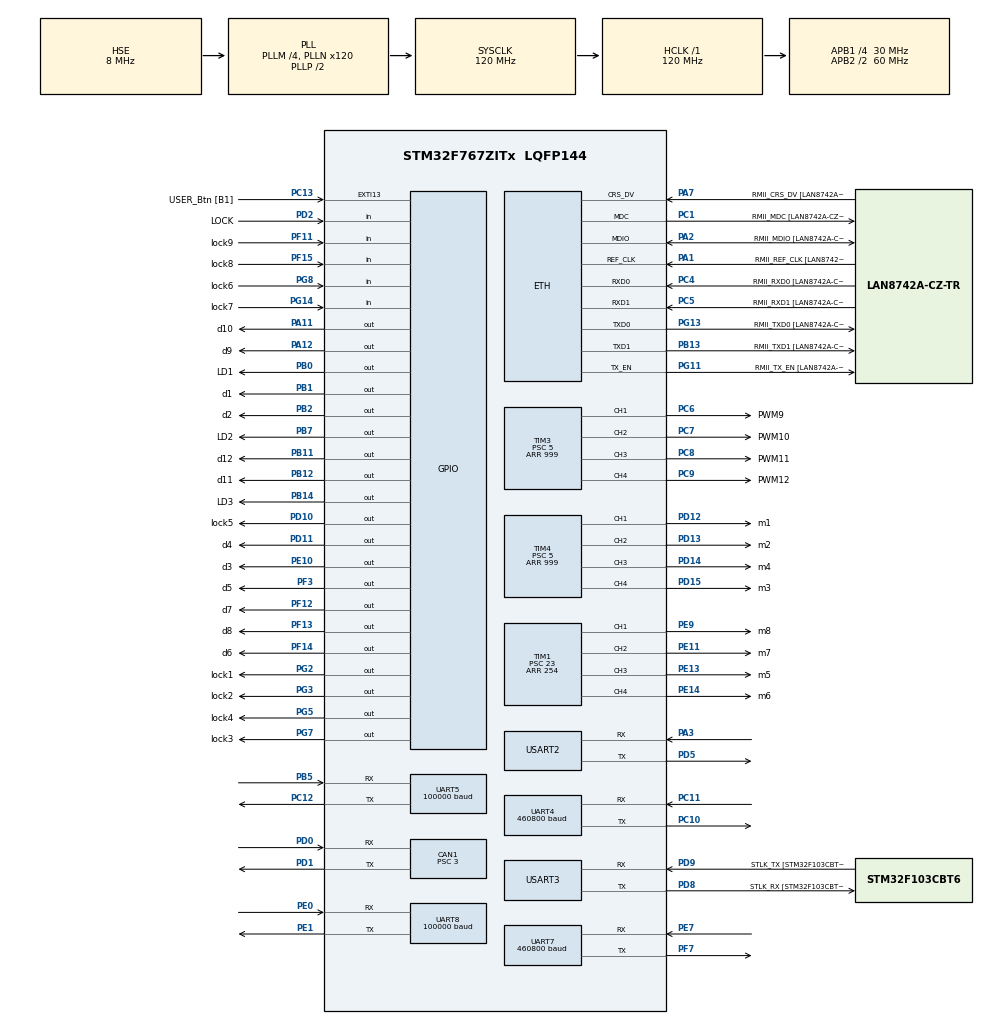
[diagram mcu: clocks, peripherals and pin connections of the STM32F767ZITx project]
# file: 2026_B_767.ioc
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CAN1.BS1=CAN_BS1_7TQ
CAN1.BS2=CAN_BS2_2TQ
CAN1.CalculateBaudRate=1000000
CAN1.CalculateTimeBit=1000
CAN1.CalculateTimeQuantum=100.0
CAN1.NART=ENABLE
CAN1.Prescaler=3
CORTEX_M7.default_mode_Activation=1
Dma.Request0=UART5_RX
Dma.Request1=UART4_RX
Dma.Request2=UART7_RX
Dma.Request3=UART8_RX
Dma.UART4_RX.1.Direction=DMA_PERIPH_TO_MEMORY
Dma.UART4_RX.1.FIFOMode=DMA_FIFOMODE_DISABLE
Dma.UART4_RX.1.Instance=DMA1_Stream2
Dma.UART4_RX.1.MemDataAlignment=DMA_MDATAALIGN_BYTE
Dma.UART4_RX.1.MemInc=DMA_MINC_ENABLE
Dma.UART4_RX.1.Mode=DMA_CIRCULAR
Dma.UART4_RX.1.PeriphDataAlignment=DMA_PDATAALIGN_BYTE
Dma.UART4_RX.1.PeriphInc=DMA_PINC_DISABLE
Dma.UART4_RX.1.Priority=DMA_PRIORITY_LOW
Dma.UART5_RX.0.Direction=DMA_PERIPH_TO_MEMORY
Dma.UART5_RX.0.FIFOMode=DMA_FIFOMODE_DISABLE
Dma.UART5_RX.0.Instance=DMA1_Stream0
Dma.UART5_RX.0.MemDataAlignment=DMA_MDATAALIGN_BYTE
Dma.UART5_RX.0.MemInc=DMA_MINC_ENABLE
Dma.UART5_RX.0.Mode=DMA_NORMAL
Dma.UART5_RX.0.PeriphDataAlignment=DMA_PDATAALIGN_BYTE
Dma.UART5_RX.0.PeriphInc=DMA_PINC_DISABLE
Dma.UART5_RX.0.Priority=DMA_PRIORITY_LOW
Dma.UART7_RX.2.Direction=DMA_PERIPH_TO_MEMORY
Dma.UART7_RX.2.FIFOMode=DMA_FIFOMODE_DISABLE
Dma.UART7_RX.2.Instance=DMA1_Stream3
Dma.UART7_RX.2.MemDataAlignment=DMA_MDATAALIGN_BYTE
Dma.UART7_RX.2.MemInc=DMA_MINC_ENABLE
Dma.UART7_RX.2.Mode=DMA_CIRCULAR
Dma.UART7_RX.2.PeriphDataAlignment=DMA_PDATAALIGN_BYTE
Dma.UART7_RX.2.PeriphInc=DMA_PINC_DISABLE
Dma.UART7_RX.2.Priority=DMA_PRIORITY_LOW
Dma.UART8_RX.3.Direction=DMA_PERIPH_TO_MEMORY
Dma.UART8_RX.3.FIFOMode=DMA_FIFOMODE_DISABLE
Dma.UART8_RX.3.Instance=DMA1_Stream6
Dma.UART8_RX.3.MemDataAlignment=DMA_MDATAALIGN_BYTE
Dma.UART8_RX.3.MemInc=DMA_MINC_ENABLE
Dma.UART8_RX.3.Mode=DMA_NORMAL
Dma.UART8_RX.3.PeriphDataAlignment=DMA_PDATAALIGN_BYTE
Dma.UART8_RX.3.PeriphInc=DMA_PINC_DISABLE
Dma.UART8_RX.3.Priority=DMA_PRIORITY_LOW
ETH.MediaInterface=HAL_ETH_RMII_MODE
ETH.PHY_Name=LAN8742A_PHY_ADDRESS
ETH.PHY_Value=0
ETH.PhyAddress=0
Mcu.Family=STM32F7
Mcu.Name=STM32F767ZITx
Mcu.Package=LQFP144
NVIC.CAN1_RX0_IRQn=true\:0\:0\:false\:false\:true\:true\:true\:true
NVIC.CAN1_RX1_IRQn=true\:0\:0\:false\:false\:true\:true\:true\:true
NVIC.DMA1_Stream0_IRQn=true\:0\:0\:false\:false\:true\:false\:true\:true
NVIC.DMA1_Stream2_IRQn=true\:0\:0\:false\:false\:true\:false\:true\:true
NVIC.DMA1_Stream3_IRQn=true\:0\:0\:false\:false\:true\:false\:true\:true
NVIC.DMA1_Stream6_IRQn=true\:0\:0\:false\:false\:true\:false\:true\:true
NVIC.PriorityGroup=NVIC_PRIORITYGROUP_4
NVIC.TIM4_IRQn=true\:0\:0\:false\:false\:true\:true\:true\:true
NVIC.UART4_IRQn=true\:0\:0\:false\:false\:true\:true\:true\:true
NVIC.UART5_IRQn=true\:0\:0\:false\:false\:true\:true\:true\:true
NVIC.UART7_IRQn=true\:0\:0\:false\:false\:true\:true\:true\:true
PA1.GPIO_Label=RMII_REF_CLK [LAN8742A-CZ-TR_REFCLK0]
PA1.Mode=RMII
PA1.Signal=ETH_REF_CLK
PA10.GPIO_Label=USB_ID
PA10.Signal=USB_OTG_FS_ID
PA11.GPIO_Label=d10
PA11.Signal=GPIO_Output
PA12.GPIO_Label=d9
PA12.Signal=GPIO_Output
PA13.GPIO_Label=TMS
PA13.Mode=Serial_Wire
PA13.Signal=SYS_JTMS-SWDIO
PA14.GPIO_Label=TCK
PA14.Mode=Serial_Wire
PA14.Signal=SYS_JTCK-SWCLK
PA2.GPIO_Label=RMII_MDIO [LAN8742A-CZ-TR_MDIO]
PA2.Mode=RMII
PA2.Signal=ETH_MDIO
PA3.Mode=Asynchronous
PA3.Signal=USART2_RX
PA7.GPIO_Label=RMII_CRS_DV [LAN8742A-CZ-TR_CRS_DV]
PA7.Mode=RMII
PA7.Signal=ETH_CRS_DV
PA8.GPIO_Label=USB_SOF [TP1]
PA8.Signal=USB_OTG_FS_SOF
PA9.GPIO_Label=USB_VBUS
PA9.Signal=USB_OTG_FS_VBUS
PB0.GPIO_Label=LD1
PB0.Signal=GPIO_Output
PB1.GPIO_Label=d1
PB1.Signal=GPIO_Output
PB11.GPIO_Label=d12
PB11.Signal=GPIO_Output
PB12.GPIO_Label=d11
PB12.Signal=GPIO_Output
PB13.GPIO_Label=RMII_TXD1 [LAN8742A-CZ-TR_TXD1]
PB13.Mode=RMII
PB13.Signal=ETH_TXD1
PB14.GPIO_Label=LD3
PB14.Signal=GPIO_Output
PB2.GPIO_Label=d2
PB2.Signal=GPIO_Output
PB3.GPIO_Label=SWO
PB3.Signal=SYS_JTDO-SWO
PB5.Mode=Asynchronous
PB5.Signal=UART5_RX
PB7.GPIO_Label=LD2
PB7.Signal=GPIO_Output
PC1.GPIO_Label=RMII_MDC [LAN8742A-CZ-TR_MDC]
PC1.Mode=RMII
PC1.Signal=ETH_MDC
PC10.Mode=Asynchronous
PC10.Signal=UART4_TX
PC11.Mode=Asynchronous
PC11.Signal=UART4_RX
PC12.Mode=Asynchronous
PC12.Signal=UART5_TX
PC13.GPIO_Label=USER_Btn [B1]
PC13.Signal=GPXTI13
PC14/OSC32_IN.Mode=LSE-External-Oscillator
PC14/OSC32_IN.Signal=RCC_OSC32_IN
PC15/OSC32_OUT.Mode=LSE-External-Oscillator
PC15/OSC32_OUT.Signal=RCC_OSC32_OUT
PC4.GPIO_Label=RMII_RXD0 [LAN8742A-CZ-TR_RXD0]
PC4.Mode=RMII
PC4.Signal=ETH_RXD0
PC5.GPIO_Label=RMII_RXD1 [LAN8742A-CZ-TR_RXD1]
PC5.Mode=RMII
PC5.Signal=ETH_RXD1
PC6.GPIO_Label=PWM9
PC6.Signal=S_TIM3_CH1
PC7.GPIO_Label=PWM10
PC7.Signal=S_TIM3_CH2
PC8.GPIO_Label=PWM11
PC8.Signal=S_TIM3_CH3
PC9.GPIO_Label=PWM12
PC9.Signal=S_TIM3_CH4
PD0.Mode=CAN_Activate
PD0.Signal=CAN1_RX
PD1.Mode=CAN_Activate
PD1.Signal=CAN1_TX
PD10.GPIO_Label=lock5
PD10.Signal=GPIO_Output
PD11.GPIO_Label=d4
PD11.Signal=GPIO_Output
PD12.GPIO_Label=m1
PD12.Signal=S_TIM4_CH1
PD13.GPIO_Label=m2
PD13.Signal=S_TIM4_CH2
PD14.GPIO_Label=m4
PD14.Signal=S_TIM4_CH3
PD15.GPIO_Label=m3
PD15.Signal=S_TIM4_CH4
PD2.GPIO_Label=LOCK
PD2.GPIO_PuPd=GPIO_PULLUP
PD2.Signal=GPIO_Input
PD5.Mode=Asynchronous
PD5.Signal=USART2_TX
PD8.GPIO_Label=STLK_RX [STM32F103CBT6_PA3]
PD8.Mode=Asynchronous
PD8.Signal=USART3_TX
PD9.GPIO_Label=STLK_TX [STM32F103CBT6_PA2]
PD9.Mode=Asynchronous
PD9.Signal=USART3_RX
PE0.Mode=Asynchronous
PE0.Signal=UART8_RX
PE1.Mode=Asynchronous
PE1.Signal=UART8_TX
PE10.GPIO_Label=d3
PE10.Signal=GPIO_Output
PE11.GPIO_Label=m7
PE11.Signal=S_TIM1_CH2
PE13.GPIO_Label=m5
PE13.Signal=S_TIM1_CH3
PE14.GPIO_Label=m6
PE14.Signal=S_TIM1_CH4
PE7.Mode=Asynchronous
PE7.Signal=UART7_RX
PE9.GPIO_Label=m8
PE9.Signal=S_TIM1_CH1
PF11.GPIO_Label=lock9
PF11.GPIO_PuPd=GPIO_PULLUP
PF11.Signal=GPIO_Input
PF12.GPIO_Label=d7
PF12.Signal=GPIO_Output
PF13.GPIO_Label=d8
PF13.Signal=GPIO_Output
PF14.GPIO_Label=d6
PF14.Signal=GPIO_Output
PF15.GPIO_Label=lock8
PF15.GPIO_PuPd=GPIO_PULLUP
PF15.Signal=GPIO_Input
PF3.GPIO_Label=d5
PF3.Signal=GPIO_Output
PF7.Mode=Asynchronous
PF7.Signal=UART7_TX
PG11.GPIO_Label=RMII_TX_EN [LAN8742A-CZ-TR_TXEN]
PG11.Mode=RMII
PG11.Signal=ETH_TX_EN
PG13.GPIO_Label=RMII_TXD0 [LAN8742A-CZ-TR_TXD0]
PG13.Mode=RMII
PG13.Signal=ETH_TXD0
PG14.GPIO_Label=lock7
PG14.GPIO_PuPd=GPIO_PULLUP
PG14.Signal=GPIO_Input
PG2.GPIO_Label=lock1
PG2.Signal=GPIO_Output
PG3.GPIO_Label=lock2
PG3.Signal=GPIO_Output
PG5.GPIO_Label=lock4
PG5.Signal=GPIO_Output
PG7.GPIO_Label=lock3
PG7.Signal=GPIO_Output
PG8.GPIO_Label=lock6
PG8.GPIO_PuPd=GPIO_PULLUP
PG8.Signal=GPIO_Input
PH0/OSC_IN.GPIO_Label=MCO [STM32F103CBT6_PA8]
PH0/OSC_IN.Mode=HSE-External-Clock-Source
PH0/OSC_IN.Signal=RCC_OSC_IN
PH1/OSC_OUT.Mode=HSE-External-Clock-Source
PH1/OSC_OUT.Signal=RCC_OSC_OUT
ProjectManager.HeapSize=0x200
ProjectManager.StackSize=0x400
ProjectManager.TargetToolchain=CMake
RCC.48MHZClocksFreq_Value=24000000
RCC.AHBFreq_Value=120000000
RCC.APB1CLKDivider=RCC_HCLK_DIV4
RCC.APB1Freq_Value=30000000
RCC.APB1TimFreq_Value=60000000
RCC.APB2CLKDivider=RCC_HCLK_DIV2
RCC.APB2Freq_Value=60000000
RCC.APB2TimFreq_Value=120000000
RCC.CortexFreq_Value=120000000
RCC.HCLKFreq_Value=120000000
RCC.HSE_VALUE=8000000
RCC.HSI_VALUE=16000000
RCC.PLLM=4
RCC.PLLMUL=RCC_PLL_MUL9
RCC.PLLN=120
RCC.PLLQ=5
RCC.PLLSourceVirtual=RCC_PLLSOURCE_HSE
RCC.PRESCALERUSB=RCC_USBCLKSOURCE_PLL_DIV1_5
RCC.SYSCLKFreq_VALUE=120000000
RCC.SYSCLKSource=RCC_SYSCLKSOURCE_PLLCLK
RCC.SYSCLKSourceVirtual=RCC_SYSCLKSOURCE_PLLCLK
RCC.USBFreq_Value=48000000
RCC.VCOOutputFreq_Value=240000000
SH.S_TIM1_CH1.0=TIM1_CH1,PWM Generation1 CH1
SH.S_TIM1_CH2.0=TIM1_CH2,PWM Generation2 CH2
SH.S_TIM1_CH3.0=TIM1_CH3,PWM Generation3 CH3
SH.S_TIM1_CH4.0=TIM1_CH4,PWM Generation4 CH4
SH.S_TIM3_CH1.0=TIM3_CH1,PWM Generation1 CH1
SH.S_TIM3_CH2.0=TIM3_CH2,PWM Generation2 CH2
SH.S_TIM3_CH3.0=TIM3_CH3,PWM Generation3 CH3
SH.S_TIM3_CH4.0=TIM3_CH4,PWM Generation4 CH4
SH.S_TIM4_CH1.0=TIM4_CH1,PWM Generation1 CH1
SH.S_TIM4_CH2.0=TIM4_CH2,PWM Generation2 CH2
SH.S_TIM4_CH3.0=TIM4_CH3,PWM Generation3 CH3
SH.S_TIM4_CH4.0=TIM4_CH4,PWM Generation4 CH4
TIM1.Channel-PWM\ Generation1\ CH1=TIM_CHANNEL_1
TIM1.Channel-PWM\ Generation2\ CH2=TIM_CHANNEL_2
TIM1.Channel-PWM\ Generation3\ CH3=TIM_CHANNEL_3
TIM1.Channel-PWM\ Generation4\ CH4=TIM_CHANNEL_4
TIM1.Period=254
TIM1.Prescaler=23
TIM3.Channel-PWM\ Generation1\ CH1=TIM_CHANNEL_1
TIM3.Channel-PWM\ Generation2\ CH2=TIM_CHANNEL_2
TIM3.Channel-PWM\ Generation3\ CH3=TIM_CHANNEL_3
TIM3.Channel-PWM\ Generation4\ CH4=TIM_CHANNEL_4
TIM3.Period=999
TIM3.Prescaler=5
TIM4.Channel-PWM\ Generation1\ CH1=TIM_CHANNEL_1
TIM4.Channel-PWM\ Generation2\ CH2=TIM_CHANNEL_2
TIM4.Channel-PWM\ Generation3\ CH3=TIM_CHANNEL_3
TIM4.Channel-PWM\ Generation4\ CH4=TIM_CHANNEL_4
TIM4.Period=999
TIM4.Prescaler=5
UART4.BaudRate=460800
UART4.WordLength=WORDLENGTH_8B
UART5.BaudRate=100000
UART5.Parity=PARITY_EVEN
UART5.RxPinLevelInvertParam=UART_ADVFEATURE_RXINV_ENABLE
UART5.StopBits=UART_STOPBITS_2
UART5.WordLength=WORDLENGTH_9B
UART7.BaudRate=460800
UART8.BaudRate=100000
UART8.Parity=PARITY_EVEN
UART8.RxPinLevelInvertParam=UART_ADVFEATURE_RXINV_ENABLE
UART8.StopBits=UART_STOPBITS_2
UART8.WordLength=WORDLENGTH_9B
USART2.VirtualMode-Asynchronous=VM_ASYNC
USART3.VirtualMode-Asynchronous=VM_ASYNC
VP_TIM1_VS_ClockSourceINT.Mode=Internal
VP_TIM4_VS_ClockSourceINT.Mode=Internal
board=NUCLEO-F767ZI

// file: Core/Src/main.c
/* USER CODE BEGIN Header */
/**
 ******************************************************************************
 * @file           : main.c
 * @brief          : Main program body
 ******************************************************************************
 * @attention
 *
 * Copyright (c) 2026 STMicroelectronics.
 * All rights reserved.
 *
 * This software is licensed under terms that can be found in the LICENSE file
 * in the root directory of this software component.
 * If no LICENSE file comes with this software, it is provided AS-IS.
 *
 ******************************************************************************
 */
/* USER CODE END Header */
#include "main.h"
#include "string.h"

/* USER CODE BEGIN Includes */
#include "sbus.h"
#include "function.h"
#include "can_handler.h"
#include "safety.h"
#include "sbus_handler.h"
#include "lidar_sensor.h"
#include "robot_limits.h"
#include "led.h"
#include <math.h>
#include <stdint.h>
#include <stdio.h>
#include <stdlib.h>

/* USER CODE END Includes */

#if defined ( __ICCARM__ ) /*!< IAR Compiler */
#pragma location=0x2007c000
ETH_DMADescTypeDef  DMARxDscrTab[ETH_RX_DESC_CNT]; /* Ethernet Rx DMA Descriptors */
#pragma location=0x2007c0a0
ETH_DMADescTypeDef  DMATxDscrTab[ETH_TX_DESC_CNT]; /* Ethernet Tx DMA Descriptors */

#elif defined ( __CC_ARM )  /* MDK ARM Compiler */

__attribute__((at(0x2007c000))) ETH_DMADescTypeDef  DMARxDscrTab[ETH_RX_DESC_CNT]; /* Ethernet Rx DMA Descriptors */
__attribute__((at(0x2007c0a0))) ETH_DMADescTypeDef  DMATxDscrTab[ETH_TX_DESC_CNT]; /* Ethernet Tx DMA Descriptors */

#elif defined ( __GNUC__ ) /* GNU Compiler */

ETH_DMADescTypeDef DMARxDscrTab[ETH_RX_DESC_CNT] __attribute__((section(".RxDecripSection"))); /* Ethernet Rx DMA Descriptors */
ETH_DMADescTypeDef DMATxDscrTab[ETH_TX_DESC_CNT] __attribute__((section(".TxDecripSection")));   /* Ethernet Tx DMA Descriptors */
#endif

ETH_TxPacketConfig TxConfig;

CAN_HandleTypeDef hcan1;

ETH_HandleTypeDef heth;

TIM_HandleTypeDef htim1;
TIM_HandleTypeDef htim3;
TIM_HandleTypeDef htim4;

UART_HandleTypeDef huart4;
UART_HandleTypeDef huart5;
UART_HandleTypeDef huart7;
UART_HandleTypeDef huart8;
UART_HandleTypeDef huart2;
UART_HandleTypeDef huart3;
DMA_HandleTypeDef hdma_uart4_rx;
DMA_HandleTypeDef hdma_uart5_rx;
DMA_HandleTypeDef hdma_uart7_rx;
DMA_HandleTypeDef hdma_uart8_rx;

/* USER CODE BEGIN PV */

// スティック (sbus() で ±1000 に変換済み)
int rx; // 旋回 (CH0)
int ly; // 前後 (CH1)
int ry; // BAKETU1 の速度調整 (CH2)。Ltuno1 == -1 のとき上ローラーの目標速度を ±BAKETU1_RY_RANGE 変える
int lx; // 左右 (CH3)

// スイッチ (sbus() で変換済み)
int Lmayu1; // CH4 ローラー選択    1=上ローラー / 0=下ローラー
int Lmayu2; // CH5 ローラー回転    1=回す / 0=止める
int Rmayu1; // CH6 未使用
int Rmayu2; // CH7 電磁弁の選択    0=lock1 / 1=lock2
int Ltuno1; // CH8 上ローラー速度  1=BAKETU3 / 0=BAKETU2 / -1=BAKETU1 (RY で調整)
int Rtuno2; // CH9 発射            1=打つ / 0=打たない

// CAN (ID 0x001) で受け取るローラーのエンコーダ値。0〜255
volatile int16_t PV1 = 0; // 上ローラー pwm5 (use_data[0])
volatile int16_t PV2 = 0; // 上ローラー pwm7 (use_data[1])
volatile int16_t PV3 = 0; // 下ローラー pwm6 (use_data[2])
volatile int16_t PV4 = 0; // 下ローラー pwm8 (use_data[3])
volatile int16_t PV5 = 0; // 未使用 (use_data[4])
volatile int16_t PV6 = 0; // 未使用 (use_data[5])

// 足回りの回転方向 (motor_simple_control が更新)
int dir1 = 0;
int dir2 = 0;
int dir3 = 0;
int dir4 = 0;

/*
 * 各モーターの PWM 値。タイマーごとに Period が違うので値の範囲も違う。
 *   pwm1〜pwm4  足回り   TIM4 (Period 999) … 上限 DRIVE_PWM_MAX (robot_limits.h)
 *   pwm5〜pwm8  ローラー TIM1 (Period 254) … 上限 ROLLER_PWM_MAX (robot_limits.h)
 *   pwm9, pwm10 装填     TIM3 (Period 999) … 上限 SOUTEN_PWM_MAX (12V/21V ≒ 57% → 571)
 *   pwm11, pwm12 予備    TIM3 (未使用)
 * Period を超える値を入れると常に 100% デューティになるので注意。
 */
int pwm1 = 0;
int pwm2 = 0;
int pwm3 = 0;
int pwm4 = 0;
int pwm5 = 0;
int pwm6 = 0;
int pwm7 = 0;
int pwm8 = 0;
int pwm9 = 0;
int pwm10 = 0;
int pwm11 = 0;
int pwm12 = 0;

// ローラーの motor_control 用。誤差を 1/10 するときの端数の繰り越し
int rem5 = 0;
int rem6 = 0;
int rem7 = 0;
int rem8 = 0;

// 装填の原点復帰中フラグ。lock6/lock8 で立ち、原点の lock7/lock9 で下りる
int reset_flag1 = 0; // 装填1
int reset_flag2 = 0; // 装填2

int souten_dir1 = 0; // 装填1(pwm9)の回転方向 (souten_ramp が更新)
int souten_dir2 = 0; // 装填2(pwm10)の回転方向 (souten_ramp が更新)

// ローラーは常に正転で方向転換しない (DIR は出力時に固定値を書く) ため、
// motor_control の dir の受け皿は共用の捨て変数でよい
int dummy = 0;

// lidar
//  UART4 用（センサー1）
uint8_t rx_dma_buf4[DMA_BUF_SIZE];
uint16_t distance4 = 0;

// UART7 用（センサー2）
uint8_t rx_dma_buf7[DMA_BUF_SIZE];
uint16_t distance7 = 0;

uint32_t time1 = 0; // 足回りとローラーの 20ms 周期の基準時刻
uint32_t now = 0;   // ループ先頭の HAL_GetTick()

uint32_t last_can_rx = 0; // 最後に CAN を受信した時刻 (safety() の CAN 断判定)

// SBUS

uint8_t sbus_rxbuf[SBUS_FRAME_LEN];
uint8_t sbus_frame[SBUS_FRAME_LEN];
volatile uint16_t SBUS_CH[16];
uint8_t SBUS_Failsafe = 0;
uint8_t SBUS_LostFrame = 0;
uint32_t last_sbus_rx = 0; // 最後にSBUSフレームをデコードできた時刻

// CAN 受信割り込みで書き込まれる最新の 8 バイト (ID 0x001)
volatile uint8_t use_data[8];

/* USER CODE END PV */

void SystemClock_Config(void);
static void MPU_Config(void);
static void MX_GPIO_Init(void);
static void MX_DMA_Init(void);
static void MX_CAN1_Init(void);
static void MX_ETH_Init(void);
static void MX_UART5_Init(void);
static void MX_USART2_UART_Init(void);
static void MX_USART3_UART_Init(void);
static void MX_TIM4_Init(void);
static void MX_TIM1_Init(void);
static void MX_UART4_Init(void);
static void MX_UART7_Init(void);
static void MX_TIM3_Init(void);
static void MX_UART8_Init(void);

/* USER CODE BEGIN 0 */

// printf の出力先を USART3 にする
int _write(int file, char *ptr, int len) {
    HAL_UART_Transmit(&huart3, (uint8_t *)ptr, len, 10);
    return len;
}

/* USER CODE END 0 */

int main(void)
{

  /* USER CODE BEGIN 1 */

    setbuf(stdout, NULL); // printf をバッファせず、その場で USART3 へ送る
  /* USER CODE END 1 */

  /* MPU Configuration--------------------------------------------------------*/
  MPU_Config();

  /* MCU Configuration--------------------------------------------------------*/

  /* Reset of all peripherals, Initializes the Flash interface and the Systick. */
  HAL_Init();

  /* Configure the system clock */
  SystemClock_Config();

  /* Initialize all configured peripherals */
  MX_GPIO_Init();
  MX_DMA_Init();
  MX_CAN1_Init();
  MX_ETH_Init();
  MX_UART5_Init();
  MX_USART2_UART_Init();
  MX_USART3_UART_Init();
  MX_TIM4_Init();
  MX_TIM1_Init();
  MX_UART4_Init();
  MX_UART7_Init();
  MX_TIM3_Init();
  MX_UART8_Init();
  /* USER CODE BEGIN 2 */
    HAL_CAN_Start(&hcan1);
    HAL_CAN_ActivateNotification(&hcan1,
                                 CAN_IT_RX_FIFO0_MSG_PENDING); // 受信割り込みを有効化

    // 足回り (TIM4)、ローラー (TIM1)、装填 (TIM3) の PWM 出力を開始

    HAL_TIM_PWM_Start(&htim4, TIM_CHANNEL_1);
    HAL_TIM_PWM_Start(&htim4, TIM_CHANNEL_2);
    HAL_TIM_PWM_Start(&htim4, TIM_CHANNEL_3);
    HAL_TIM_PWM_Start(&htim4, TIM_CHANNEL_4);

    HAL_TIM_PWM_Start(&htim1, TIM_CHANNEL_1);
    HAL_TIM_PWM_Start(&htim1, TIM_CHANNEL_2);
    HAL_TIM_PWM_Start(&htim1, TIM_CHANNEL_3);
    HAL_TIM_PWM_Start(&htim1, TIM_CHANNEL_4);

    HAL_TIM_PWM_Start(&htim3, TIM_CHANNEL_1);
    HAL_TIM_PWM_Start(&htim3, TIM_CHANNEL_2);
    HAL_TIM_PWM_Start(&htim3, TIM_CHANNEL_3);
    HAL_TIM_PWM_Start(&htim3, TIM_CHANNEL_4);

    SBUS_Init(); // SBUS の受信を開始

    HAL_Delay(100); // Lidar の起動待ち

    // Lidar 2 台 (UART4, UART7) に測定開始コマンドを送り、循環 DMA で受信を始める
    uint8_t startCmd[] = {0x5A, 0x0A, 0x02, 0x02, 0x00, 0xF1};
    HAL_UART_Transmit(&huart4, startCmd, sizeof(startCmd), HAL_MAX_DELAY);
    HAL_UART_Transmit(&huart7, startCmd, sizeof(startCmd), HAL_MAX_DELAY);
    HAL_Delay(20);
    lidar_start_rx(&huart4);
    lidar_start_rx(&huart7);

  /* USER CODE END 2 */

  /* Infinite loop */
  /* USER CODE BEGIN WHILE */
    while (1) {
        now = HAL_GetTick();

        // CAN で受け取ったローラーのエンコーダ値
        PV1 = use_data[0];
        PV2 = use_data[1];
        PV5 = use_data[2];
        PV4 = use_data[3];
        PV3 = use_data[4];
        PV6 = use_data[5];

        sbus();  // スイッチとスティックを読む
        lidar(); // Lidar の距離を更新

        // 足回り・ローラー・装填のランプは 20ms 周期
        if (now - time1 >= CONTROL_PERIOD_MS) {
            asimawari();
            roller();
            souten_ramp();
          //printf("PV1:%d PV2:%d PV3:%d PV4:%d pwm5:%d pwm7: %d pwm6:%d pwm8:%d\n",PV1,PV2,PV3,PV4,pwm5,pwm7,pwm6,pwm8);
        //printf("distance4 :%d distance7:%d\n",distance4,distance7);
        printf("pwm5%d 6%d7%d8%d\n",pwm5,pwm6,pwm7,pwm8);
            time1 = now;
        }

        hassya();   // 撃ってよいか (撃つスイッチの押し直し) を決める
        souten();   // 装填モーターの指令 (毎周回。リミットスイッチを踏んだときの即停止もここ)
        denziben(); // 電磁弁の指令 (毎周回)

        // 必ず PWM を出力する直前に呼ぶこと。これより後で pwm を書き換えると
        // 異常時の停止やローラーの頭打ちが効かなくなる。
        safety();
        led(); // ステータス LED と LED テープ (safety() の後)

        motor_outputs();

    /* USER CODE END WHILE */

    }
}

void SystemClock_Config(void)
{
  RCC_OscInitTypeDef RCC_OscInitStruct = {0};
  RCC_ClkInitTypeDef RCC_ClkInitStruct = {0};

  /** Configure LSE Drive Capability
  */
  HAL_PWR_EnableBkUpAccess();

  /** Configure the main internal regulator output voltage
  */
  __HAL_RCC_PWR_CLK_ENABLE();
  __HAL_PWR_VOLTAGESCALING_CONFIG(PWR_REGULATOR_VOLTAGE_SCALE3);

  /** Initializes the RCC Oscillators according to the specified parameters
  * in the RCC_OscInitTypeDef structure.
  */
  RCC_OscInitStruct.OscillatorType = RCC_OSCILLATORTYPE_HSE;
  RCC_OscInitStruct.HSEState = RCC_HSE_BYPASS;
  RCC_OscInitStruct.PLL.PLLState = RCC_PLL_ON;
  RCC_OscInitStruct.PLL.PLLSource = RCC_PLLSOURCE_HSE;
  RCC_OscInitStruct.PLL.PLLM = 4;
  RCC_OscInitStruct.PLL.PLLN = 120;
  RCC_OscInitStruct.PLL.PLLP = RCC_PLLP_DIV2;
  RCC_OscInitStruct.PLL.PLLQ = 5;
  RCC_OscInitStruct.PLL.PLLR = 2;
  if (HAL_RCC_OscConfig(&RCC_OscInitStruct) != HAL_OK)
  {
    Error_Handler();
  }

  /** Initializes the CPU, AHB and APB buses clocks
  */
  RCC_ClkInitStruct.ClockType = RCC_CLOCKTYPE_HCLK|RCC_CLOCKTYPE_SYSCLK
                              |RCC_CLOCKTYPE_PCLK1|RCC_CLOCKTYPE_PCLK2;
  RCC_ClkInitStruct.SYSCLKSource = RCC_SYSCLKSOURCE_PLLCLK;
  RCC_ClkInitStruct.AHBCLKDivider = RCC_SYSCLK_DIV1;
  RCC_ClkInitStruct.APB1CLKDivider = RCC_HCLK_DIV4;
  RCC_ClkInitStruct.APB2CLKDivider = RCC_HCLK_DIV2;

  if (HAL_RCC_ClockConfig(&RCC_ClkInitStruct, FLASH_LATENCY_3) != HAL_OK)
  {
    Error_Handler();
  }
}

static void MX_CAN1_Init(void)
{

  hcan1.Instance = CAN1;
  hcan1.Init.Prescaler = 3;
  hcan1.Init.Mode = CAN_MODE_NORMAL;
  hcan1.Init.SyncJumpWidth = CAN_SJW_1TQ;
  hcan1.Init.TimeSeg1 = CAN_BS1_7TQ;
  hcan1.Init.TimeSeg2 = CAN_BS2_2TQ;
  hcan1.Init.TimeTriggeredMode = DISABLE;
  hcan1.Init.AutoBusOff = DISABLE;
  hcan1.Init.AutoWakeUp = DISABLE;
  hcan1.Init.AutoRetransmission = ENABLE;
  hcan1.Init.ReceiveFifoLocked = DISABLE;
  hcan1.Init.TransmitFifoPriority = DISABLE;
  if (HAL_CAN_Init(&hcan1) != HAL_OK)
  {
    Error_Handler();
  }
  /* USER CODE BEGIN CAN1_Init 2 */
    // 16bit の ID リストモードなので、Mask 側も含めた 4 つがそのまま受信する ID になる。
    // 受信するのは 0x001〜0x004 で、実際に使っているのは 0x001 (ローラーのエンコーダ値) だけ。
    CAN_FilterTypeDef filter;
    filter.FilterIdHigh = 0x001 << 5;               // 受信ID 1
    filter.FilterIdLow = 0x002 << 5;                // 受信ID 2
    filter.FilterMaskIdHigh = 0x003 << 5;           // 受信ID 3
    filter.FilterMaskIdLow = 0x004 << 5;            // 受信ID 4
    filter.FilterScale = CAN_FILTERSCALE_16BIT;     // 16モード
    filter.FilterFIFOAssignment = CAN_FILTER_FIFO0; // FIFO0へ格納
    filter.FilterBank = 0;
    filter.FilterMode = CAN_FILTERMODE_IDLIST; // IDリストモード
    filter.SlaveStartFilterBank = 14;
    filter.FilterActivation = ENABLE;

    HAL_CAN_ConfigFilter(&hcan1, &filter);

  /* USER CODE END CAN1_Init 2 */

}

static void MX_ETH_Init(void)
{

   static uint8_t MACAddr[6];

  heth.Instance = ETH;
  MACAddr[0] = 0x00;
  MACAddr[1] = 0x80;
  MACAddr[2] = 0xE1;
  MACAddr[3] = 0x00;
  MACAddr[4] = 0x00;
  MACAddr[5] = 0x00;
  heth.Init.MACAddr = &MACAddr[0];
  heth.Init.MediaInterface = HAL_ETH_RMII_MODE;
  heth.Init.TxDesc = DMATxDscrTab;
  heth.Init.RxDesc = DMARxDscrTab;
  heth.Init.RxBuffLen = 1524;

  if (HAL_ETH_Init(&heth) != HAL_OK)
  {
    Error_Handler();
  }

  memset(&TxConfig, 0 , sizeof(ETH_TxPacketConfig));
  TxConfig.Attributes = ETH_TX_PACKETS_FEATURES_CSUM | ETH_TX_PACKETS_FEATURES_CRCPAD;
  TxConfig.ChecksumCtrl = ETH_CHECKSUM_IPHDR_PAYLOAD_INSERT_PHDR_CALC;
  TxConfig.CRCPadCtrl = ETH_CRC_PAD_INSERT;

}

static void MX_TIM1_Init(void)
{

  TIM_ClockConfigTypeDef sClockSourceConfig = {0};
  TIM_MasterConfigTypeDef sMasterConfig = {0};
  TIM_OC_InitTypeDef sConfigOC = {0};
  TIM_BreakDeadTimeConfigTypeDef sBreakDeadTimeConfig = {0};

  htim1.Instance = TIM1;
  htim1.Init.Prescaler = 23;
  htim1.Init.CounterMode = TIM_COUNTERMODE_UP;
  htim1.Init.Period = 254;
  htim1.Init.ClockDivision = TIM_CLOCKDIVISION_DIV1;
  htim1.Init.RepetitionCounter = 0;
  htim1.Init.AutoReloadPreload = TIM_AUTORELOAD_PRELOAD_DISABLE;
  if (HAL_TIM_Base_Init(&htim1) != HAL_OK)
  {
    Error_Handler();
  }
  sClockSourceConfig.ClockSource = TIM_CLOCKSOURCE_INTERNAL;
  if (HAL_TIM_ConfigClockSource(&htim1, &sClockSourceConfig) != HAL_OK)
  {
    Error_Handler();
  }
  if (HAL_TIM_PWM_Init(&htim1) != HAL_OK)
  {
    Error_Handler();
  }
  sMasterConfig.MasterOutputTrigger = TIM_TRGO_RESET;
  sMasterConfig.MasterOutputTrigger2 = TIM_TRGO2_RESET;
  sMasterConfig.MasterSlaveMode = TIM_MASTERSLAVEMODE_DISABLE;
  if (HAL_TIMEx_MasterConfigSynchronization(&htim1, &sMasterConfig) != HAL_OK)
  {
    Error_Handler();
  }
  sConfigOC.OCMode = TIM_OCMODE_PWM1;
  sConfigOC.Pulse = 0;
  sConfigOC.OCPolarity = TIM_OCPOLARITY_HIGH;
  sConfigOC.OCNPolarity = TIM_OCNPOLARITY_HIGH;
  sConfigOC.OCFastMode = TIM_OCFAST_DISABLE;
  sConfigOC.OCIdleState = TIM_OCIDLESTATE_RESET;
  sConfigOC.OCNIdleState = TIM_OCNIDLESTATE_RESET;
  if (HAL_TIM_PWM_ConfigChannel(&htim1, &sConfigOC, TIM_CHANNEL_1) != HAL_OK)
  {
    Error_Handler();
  }
  if (HAL_TIM_PWM_ConfigChannel(&htim1, &sConfigOC, TIM_CHANNEL_2) != HAL_OK)
  {
    Error_Handler();
  }
  if (HAL_TIM_PWM_ConfigChannel(&htim1, &sConfigOC, TIM_CHANNEL_3) != HAL_OK)
  {
    Error_Handler();
  }
  if (HAL_TIM_PWM_ConfigChannel(&htim1, &sConfigOC, TIM_CHANNEL_4) != HAL_OK)
  {
    Error_Handler();
  }
  sBreakDeadTimeConfig.OffStateRunMode = TIM_OSSR_DISABLE;
  sBreakDeadTimeConfig.OffStateIDLEMode = TIM_OSSI_DISABLE;
  sBreakDeadTimeConfig.LockLevel = TIM_LOCKLEVEL_OFF;
  sBreakDeadTimeConfig.DeadTime = 0;
  sBreakDeadTimeConfig.BreakState = TIM_BREAK_DISABLE;
  sBreakDeadTimeConfig.BreakPolarity = TIM_BREAKPOLARITY_HIGH;
  sBreakDeadTimeConfig.BreakFilter = 0;
  sBreakDeadTimeConfig.Break2State = TIM_BREAK2_DISABLE;
  sBreakDeadTimeConfig.Break2Polarity = TIM_BREAK2POLARITY_HIGH;
  sBreakDeadTimeConfig.Break2Filter = 0;
  sBreakDeadTimeConfig.AutomaticOutput = TIM_AUTOMATICOUTPUT_DISABLE;
  if (HAL_TIMEx_ConfigBreakDeadTime(&htim1, &sBreakDeadTimeConfig) != HAL_OK)
  {
    Error_Handler();
  }
  HAL_TIM_MspPostInit(&htim1);

}

static void MX_TIM3_Init(void)
{

  TIM_MasterConfigTypeDef sMasterConfig = {0};
  TIM_OC_InitTypeDef sConfigOC = {0};

  htim3.Instance = TIM3;
  htim3.Init.Prescaler = 5;
  htim3.Init.CounterMode = TIM_COUNTERMODE_UP;
  htim3.Init.Period = 999;
  htim3.Init.ClockDivision = TIM_CLOCKDIVISION_DIV1;
  htim3.Init.AutoReloadPreload = TIM_AUTORELOAD_PRELOAD_DISABLE;
  if (HAL_TIM_PWM_Init(&htim3) != HAL_OK)
  {
    Error_Handler();
  }
  sMasterConfig.MasterOutputTrigger = TIM_TRGO_RESET;
  sMasterConfig.MasterSlaveMode = TIM_MASTERSLAVEMODE_DISABLE;
  if (HAL_TIMEx_MasterConfigSynchronization(&htim3, &sMasterConfig) != HAL_OK)
  {
    Error_Handler();
  }
  sConfigOC.OCMode = TIM_OCMODE_PWM1;
  sConfigOC.Pulse = 0;
  sConfigOC.OCPolarity = TIM_OCPOLARITY_HIGH;
  sConfigOC.OCFastMode = TIM_OCFAST_DISABLE;
  if (HAL_TIM_PWM_ConfigChannel(&htim3, &sConfigOC, TIM_CHANNEL_1) != HAL_OK)
  {
    Error_Handler();
  }
  if (HAL_TIM_PWM_ConfigChannel(&htim3, &sConfigOC, TIM_CHANNEL_2) != HAL_OK)
  {
    Error_Handler();
  }
  if (HAL_TIM_PWM_ConfigChannel(&htim3, &sConfigOC, TIM_CHANNEL_3) != HAL_OK)
  {
    Error_Handler();
  }
  if (HAL_TIM_PWM_ConfigChannel(&htim3, &sConfigOC, TIM_CHANNEL_4) != HAL_OK)
  {
    Error_Handler();
  }
  HAL_TIM_MspPostInit(&htim3);

}

static void MX_TIM4_Init(void)
{

  TIM_ClockConfigTypeDef sClockSourceConfig = {0};
  TIM_MasterConfigTypeDef sMasterConfig = {0};
  TIM_OC_InitTypeDef sConfigOC = {0};

  htim4.Instance = TIM4;
  htim4.Init.Prescaler = 5;
  htim4.Init.CounterMode = TIM_COUNTERMODE_UP;
  htim4.Init.Period = 999;
  htim4.Init.ClockDivision = TIM_CLOCKDIVISION_DIV1;
  htim4.Init.AutoReloadPreload = TIM_AUTORELOAD_PRELOAD_DISABLE;
  if (HAL_TIM_Base_Init(&htim4) != HAL_OK)
  {
    Error_Handler();
  }
  sClockSourceConfig.ClockSource = TIM_CLOCKSOURCE_INTERNAL;
  if (HAL_TIM_ConfigClockSource(&htim4, &sClockSourceConfig) != HAL_OK)
  {
    Error_Handler();
  }
  if (HAL_TIM_PWM_Init(&htim4) != HAL_OK)
  {
    Error_Handler();
  }
  sMasterConfig.MasterOutputTrigger = TIM_TRGO_RESET;
  sMasterConfig.MasterSlaveMode = TIM_MASTERSLAVEMODE_DISABLE;
  if (HAL_TIMEx_MasterConfigSynchronization(&htim4, &sMasterConfig) != HAL_OK)
  {
    Error_Handler();
  }
  sConfigOC.OCMode = TIM_OCMODE_PWM1;
  sConfigOC.Pulse = 0;
  sConfigOC.OCPolarity = TIM_OCPOLARITY_HIGH;
  sConfigOC.OCFastMode = TIM_OCFAST_DISABLE;
  if (HAL_TIM_PWM_ConfigChannel(&htim4, &sConfigOC, TIM_CHANNEL_1) != HAL_OK)
  {
    Error_Handler();
  }
  if (HAL_TIM_PWM_ConfigChannel(&htim4, &sConfigOC, TIM_CHANNEL_2) != HAL_OK)
  {
    Error_Handler();
  }
  if (HAL_TIM_PWM_ConfigChannel(&htim4, &sConfigOC, TIM_CHANNEL_3) != HAL_OK)
  {
    Error_Handler();
  }
  if (HAL_TIM_PWM_ConfigChannel(&htim4, &sConfigOC, TIM_CHANNEL_4) != HAL_OK)
  {
    Error_Handler();
  }
  HAL_TIM_MspPostInit(&htim4);

}

static void MX_UART4_Init(void)
{

  huart4.Instance = UART4;
  huart4.Init.BaudRate = 460800;
  huart4.Init.WordLength = UART_WORDLENGTH_8B;
  huart4.Init.StopBits = UART_STOPBITS_1;
  huart4.Init.Parity = UART_PARITY_NONE;
  huart4.Init.Mode = UART_MODE_TX_RX;
  huart4.Init.HwFlowCtl = UART_HWCONTROL_NONE;
  huart4.Init.OverSampling = UART_OVERSAMPLING_16;
  huart4.Init.OneBitSampling = UART_ONE_BIT_SAMPLE_DISABLE;
  huart4.AdvancedInit.AdvFeatureInit = UART_ADVFEATURE_NO_INIT;
  if (HAL_UART_Init(&huart4) != HAL_OK)
  {
    Error_Handler();
  }

}

static void MX_UART5_Init(void)
{

  huart5.Instance = UART5;
  huart5.Init.BaudRate = 100000;
  huart5.Init.WordLength = UART_WORDLENGTH_9B;
  huart5.Init.StopBits = UART_STOPBITS_2;
  huart5.Init.Parity = UART_PARITY_EVEN;
  huart5.Init.Mode = UART_MODE_TX_RX;
  huart5.Init.HwFlowCtl = UART_HWCONTROL_NONE;
  huart5.Init.OverSampling = UART_OVERSAMPLING_16;
  huart5.Init.OneBitSampling = UART_ONE_BIT_SAMPLE_DISABLE;
  huart5.AdvancedInit.AdvFeatureInit = UART_ADVFEATURE_RXINVERT_INIT;
  huart5.AdvancedInit.RxPinLevelInvert = UART_ADVFEATURE_RXINV_ENABLE;
  if (HAL_UART_Init(&huart5) != HAL_OK)
  {
    Error_Handler();
  }

}

static void MX_UART7_Init(void)
{

  huart7.Instance = UART7;
  huart7.Init.BaudRate = 460800;
  huart7.Init.WordLength = UART_WORDLENGTH_8B;
  huart7.Init.StopBits = UART_STOPBITS_1;
  huart7.Init.Parity = UART_PARITY_NONE;
  huart7.Init.Mode = UART_MODE_TX_RX;
  huart7.Init.HwFlowCtl = UART_HWCONTROL_NONE;
  huart7.Init.OverSampling = UART_OVERSAMPLING_16;
  huart7.Init.OneBitSampling = UART_ONE_BIT_SAMPLE_DISABLE;
  huart7.AdvancedInit.AdvFeatureInit = UART_ADVFEATURE_NO_INIT;
  if (HAL_UART_Init(&huart7) != HAL_OK)
  {
    Error_Handler();
  }

}

static void MX_UART8_Init(void)
{

  huart8.Instance = UART8;
  huart8.Init.BaudRate = 100000;
  huart8.Init.WordLength = UART_WORDLENGTH_9B;
  huart8.Init.StopBits = UART_STOPBITS_2;
  huart8.Init.Parity = UART_PARITY_EVEN;
  huart8.Init.Mode = UART_MODE_TX_RX;
  huart8.Init.HwFlowCtl = UART_HWCONTROL_NONE;
  huart8.Init.OverSampling = UART_OVERSAMPLING_16;
  huart8.Init.OneBitSampling = UART_ONE_BIT_SAMPLE_DISABLE;
  huart8.AdvancedInit.AdvFeatureInit = UART_ADVFEATURE_RXINVERT_INIT;
  huart8.AdvancedInit.RxPinLevelInvert = UART_ADVFEATURE_RXINV_ENABLE;
  if (HAL_UART_Init(&huart8) != HAL_OK)
  {
    Error_Handler();
  }

}

static void MX_USART2_UART_Init(void)
{

  huart2.Instance = USART2;
  huart2.Init.BaudRate = 115200;
  huart2.Init.WordLength = UART_WORDLENGTH_8B;
  huart2.Init.StopBits = UART_STOPBITS_1;
  huart2.Init.Parity = UART_PARITY_NONE;
  huart2.Init.Mode = UART_MODE_TX_RX;
  huart2.Init.HwFlowCtl = UART_HWCONTROL_NONE;
  huart2.Init.OverSampling = UART_OVERSAMPLING_16;
  huart2.Init.OneBitSampling = UART_ONE_BIT_SAMPLE_DISABLE;
  huart2.AdvancedInit.AdvFeatureInit = UART_ADVFEATURE_NO_INIT;
  if (HAL_UART_Init(&huart2) != HAL_OK)
  {
    Error_Handler();
  }

}

static void MX_USART3_UART_Init(void)
{

  huart3.Instance = USART3;
  huart3.Init.BaudRate = 115200;
  huart3.Init.WordLength = UART_WORDLENGTH_8B;
  huart3.Init.StopBits = UART_STOPBITS_1;
  huart3.Init.Parity = UART_PARITY_NONE;
  huart3.Init.Mode = UART_MODE_TX_RX;
  huart3.Init.HwFlowCtl = UART_HWCONTROL_NONE;
  huart3.Init.OverSampling = UART_OVERSAMPLING_16;
  huart3.Init.OneBitSampling = UART_ONE_BIT_SAMPLE_DISABLE;
  huart3.AdvancedInit.AdvFeatureInit = UART_ADVFEATURE_NO_INIT;
  if (HAL_UART_Init(&huart3) != HAL_OK)
  {
    Error_Handler();
  }

}

static void MX_DMA_Init(void)
{

  /* DMA controller clock enable */
  __HAL_RCC_DMA1_CLK_ENABLE();

  /* DMA interrupt init */
  /* DMA1_Stream0_IRQn interrupt configuration */
  HAL_NVIC_SetPriority(DMA1_Stream0_IRQn, 0, 0);
  HAL_NVIC_EnableIRQ(DMA1_Stream0_IRQn);
  /* DMA1_Stream2_IRQn interrupt configuration */
  HAL_NVIC_SetPriority(DMA1_Stream2_IRQn, 0, 0);
  HAL_NVIC_EnableIRQ(DMA1_Stream2_IRQn);
  /* DMA1_Stream3_IRQn interrupt configuration */
  HAL_NVIC_SetPriority(DMA1_Stream3_IRQn, 0, 0);
  HAL_NVIC_EnableIRQ(DMA1_Stream3_IRQn);
  /* DMA1_Stream6_IRQn interrupt configuration */
  HAL_NVIC_SetPriority(DMA1_Stream6_IRQn, 0, 0);
  HAL_NVIC_EnableIRQ(DMA1_Stream6_IRQn);

}

static void MX_GPIO_Init(void)
{
  GPIO_InitTypeDef GPIO_InitStruct = {0};

  /* GPIO Ports Clock Enable */
  __HAL_RCC_GPIOC_CLK_ENABLE();
  __HAL_RCC_GPIOF_CLK_ENABLE();
  __HAL_RCC_GPIOH_CLK_ENABLE();
  __HAL_RCC_GPIOA_CLK_ENABLE();
  __HAL_RCC_GPIOB_CLK_ENABLE();
  __HAL_RCC_GPIOE_CLK_ENABLE();
  __HAL_RCC_GPIOD_CLK_ENABLE();
  __HAL_RCC_GPIOG_CLK_ENABLE();

  /*Configure GPIO pin Output Level */
  HAL_GPIO_WritePin(GPIOF, d5_Pin|d7_Pin|d8_Pin|d6_Pin, GPIO_PIN_RESET);

  /*Configure GPIO pin Output Level */
  HAL_GPIO_WritePin(GPIOB, LD1_Pin|d1_Pin|d2_Pin|d12_Pin
                          |d11_Pin|LD3_Pin|LD2_Pin, GPIO_PIN_RESET);

  /*Configure GPIO pin Output Level */
  HAL_GPIO_WritePin(d3_GPIO_Port, d3_Pin, GPIO_PIN_RESET);

  /*Configure GPIO pin Output Level */
  HAL_GPIO_WritePin(GPIOD, lock5_Pin|d4_Pin, GPIO_PIN_RESET);

  /*Configure GPIO pin Output Level */
  HAL_GPIO_WritePin(GPIOG, lock1_Pin|lock2_Pin|lock4_Pin|lock3_Pin, GPIO_PIN_RESET);

  /*Configure GPIO pin Output Level */
  HAL_GPIO_WritePin(GPIOA, d10_Pin|d9_Pin, GPIO_PIN_RESET);

  /*Configure GPIO pin : USER_Btn_Pin */
  GPIO_InitStruct.Pin = USER_Btn_Pin;
  GPIO_InitStruct.Mode = GPIO_MODE_IT_RISING;
  GPIO_InitStruct.Pull = GPIO_NOPULL;
  HAL_GPIO_Init(USER_Btn_GPIO_Port, &GPIO_InitStruct);

  /*Configure GPIO pins : d5_Pin d7_Pin d8_Pin d6_Pin */
  GPIO_InitStruct.Pin = d5_Pin|d7_Pin|d8_Pin|d6_Pin;
  GPIO_InitStruct.Mode = GPIO_MODE_OUTPUT_PP;
  GPIO_InitStruct.Pull = GPIO_NOPULL;
  GPIO_InitStruct.Speed = GPIO_SPEED_FREQ_LOW;
  HAL_GPIO_Init(GPIOF, &GPIO_InitStruct);

  /*Configure GPIO pins : LD1_Pin d1_Pin d2_Pin d12_Pin
                           d11_Pin LD3_Pin LD2_Pin */
  GPIO_InitStruct.Pin = LD1_Pin|d1_Pin|d2_Pin|d12_Pin
                          |d11_Pin|LD3_Pin|LD2_Pin;
  GPIO_InitStruct.Mode = GPIO_MODE_OUTPUT_PP;
  GPIO_InitStruct.Pull = GPIO_NOPULL;
  GPIO_InitStruct.Speed = GPIO_SPEED_FREQ_LOW;
  HAL_GPIO_Init(GPIOB, &GPIO_InitStruct);

  /*Configure GPIO pins : lock9_Pin lock8_Pin */
  GPIO_InitStruct.Pin = lock9_Pin|lock8_Pin;
  GPIO_InitStruct.Mode = GPIO_MODE_INPUT;
  GPIO_InitStruct.Pull = GPIO_PULLUP;
  HAL_GPIO_Init(GPIOF, &GPIO_InitStruct);

  /*Configure GPIO pin : d3_Pin */
  GPIO_InitStruct.Pin = d3_Pin;
  GPIO_InitStruct.Mode = GPIO_MODE_OUTPUT_PP;
  GPIO_InitStruct.Pull = GPIO_NOPULL;
  GPIO_InitStruct.Speed = GPIO_SPEED_FREQ_LOW;
  HAL_GPIO_Init(d3_GPIO_Port, &GPIO_InitStruct);

  /*Configure GPIO pins : lock5_Pin d4_Pin */
  GPIO_InitStruct.Pin = lock5_Pin|d4_Pin;
  GPIO_InitStruct.Mode = GPIO_MODE_OUTPUT_PP;
  GPIO_InitStruct.Pull = GPIO_NOPULL;
  GPIO_InitStruct.Speed = GPIO_SPEED_FREQ_LOW;
  HAL_GPIO_Init(GPIOD, &GPIO_InitStruct);

  /*Configure GPIO pins : lock1_Pin lock2_Pin lock4_Pin lock3_Pin */
  GPIO_InitStruct.Pin = lock1_Pin|lock2_Pin|lock4_Pin|lock3_Pin;
  GPIO_InitStruct.Mode = GPIO_MODE_OUTPUT_PP;
  GPIO_InitStruct.Pull = GPIO_NOPULL;
  GPIO_InitStruct.Speed = GPIO_SPEED_FREQ_LOW;
  HAL_GPIO_Init(GPIOG, &GPIO_InitStruct);

  /*Configure GPIO pins : lock6_Pin lock7_Pin */
  GPIO_InitStruct.Pin = lock6_Pin|lock7_Pin;
  GPIO_InitStruct.Mode = GPIO_MODE_INPUT;
  GPIO_InitStruct.Pull = GPIO_PULLUP;
  HAL_GPIO_Init(GPIOG, &GPIO_InitStruct);

  /*Configure GPIO pins : USB_SOF_Pin USB_ID_Pin */
  GPIO_InitStruct.Pin = USB_SOF_Pin|USB_ID_Pin;
  GPIO_InitStruct.Mode = GPIO_MODE_AF_PP;
  GPIO_InitStruct.Pull = GPIO_NOPULL;
  GPIO_InitStruct.Speed = GPIO_SPEED_FREQ_VERY_HIGH;
  GPIO_InitStruct.Alternate = GPIO_AF10_OTG_FS;
  HAL_GPIO_Init(GPIOA, &GPIO_InitStruct);

  /*Configure GPIO pin : USB_VBUS_Pin */
  GPIO_InitStruct.Pin = USB_VBUS_Pin;
  GPIO_InitStruct.Mode = GPIO_MODE_INPUT;
  GPIO_InitStruct.Pull = GPIO_NOPULL;
  HAL_GPIO_Init(USB_VBUS_GPIO_Port, &GPIO_InitStruct);

  /*Configure GPIO pins : d10_Pin d9_Pin */
  GPIO_InitStruct.Pin = d10_Pin|d9_Pin;
  GPIO_InitStruct.Mode = GPIO_MODE_OUTPUT_PP;
  GPIO_InitStruct.Pull = GPIO_NOPULL;
  GPIO_InitStruct.Speed = GPIO_SPEED_FREQ_LOW;
  HAL_GPIO_Init(GPIOA, &GPIO_InitStruct);

  /*Configure GPIO pin : LOCK_Pin */
  GPIO_InitStruct.Pin = LOCK_Pin;
  GPIO_InitStruct.Mode = GPIO_MODE_INPUT;
  GPIO_InitStruct.Pull = GPIO_PULLUP;
  HAL_GPIO_Init(LOCK_GPIO_Port, &GPIO_InitStruct);

}

/* USER CODE BEGIN 4 */

/*
 * UART の受信エラー (パリティ・フレーミング・ノイズ・オーバーラン) で呼ばれる。
 * DMA 受信中にエラーが起きると HAL は受信を打ち切り、RxEventCallback も呼ばない。
 * ここで再開しないと、リセットするまで受信が止まったままになる
 * (SBUS なら青点滅のまま、Lidar なら距離が更新されない)。
 * フレームの途中から受信を始めた起動直後や、ノイズでよく起きる。
 */
void HAL_UART_ErrorCallback(UART_HandleTypeDef *huart) {
    if (huart->Instance == UART5) {
        SBUS_Init();
    } else {
        lidar_start_rx(huart); // UART4 / UART7 以外なら何もしない
    }
}

/* USER CODE END 4 */

 /* MPU Configuration */

void MPU_Config(void)
{
  MPU_Region_InitTypeDef MPU_InitStruct = {0};

  /* Disables the MPU */
  HAL_MPU_Disable();

  /** Initializes and configures the Region and the memory to be protected
  */
  MPU_InitStruct.Enable = MPU_REGION_ENABLE;
  MPU_InitStruct.Number = MPU_REGION_NUMBER0;
  MPU_InitStruct.BaseAddress = 0x0;
  MPU_InitStruct.Size = MPU_REGION_SIZE_4GB;
  MPU_InitStruct.SubRegionDisable = 0x87;
  MPU_InitStruct.TypeExtField = MPU_TEX_LEVEL0;
  MPU_InitStruct.AccessPermission = MPU_REGION_NO_ACCESS;
  MPU_InitStruct.DisableExec = MPU_INSTRUCTION_ACCESS_DISABLE;
  MPU_InitStruct.IsShareable = MPU_ACCESS_SHAREABLE;
  MPU_InitStruct.IsCacheable = MPU_ACCESS_NOT_CACHEABLE;
  MPU_InitStruct.IsBufferable = MPU_ACCESS_NOT_BUFFERABLE;

  HAL_MPU_ConfigRegion(&MPU_InitStruct);
  /* Enables the MPU */
  HAL_MPU_Enable(MPU_PRIVILEGED_DEFAULT);

}

void Error_Handler(void)
{
  /* USER CODE BEGIN Error_Handler_Debug */
    /* User can add his own implementation to report the HAL error return state */
    outputs_all_off(); // 止まる前に全モーターと電磁弁を止める
    __disable_irq();
    while (1) {
    }
  /* USER CODE END Error_Handler_Debug */
}
#ifdef USE_FULL_ASSERT
/**
  * @brief  Reports the name of the source file and the source line number
  *         where the assert_param error has occurred.
  * @param  file: pointer to the source file name
  * @param  line: assert_param error line source number
  * @retval None
  */
void assert_failed(uint8_t *file, uint32_t line)
{
  /* USER CODE BEGIN 6 */
    /* User can add his own implementation to report the file name and line
       number, ex: printf("Wrong parameters value: file %s on line %d\r\n", file,
       line) */
  /* USER CODE END 6 */
}
#endif /* USE_FULL_ASSERT */
